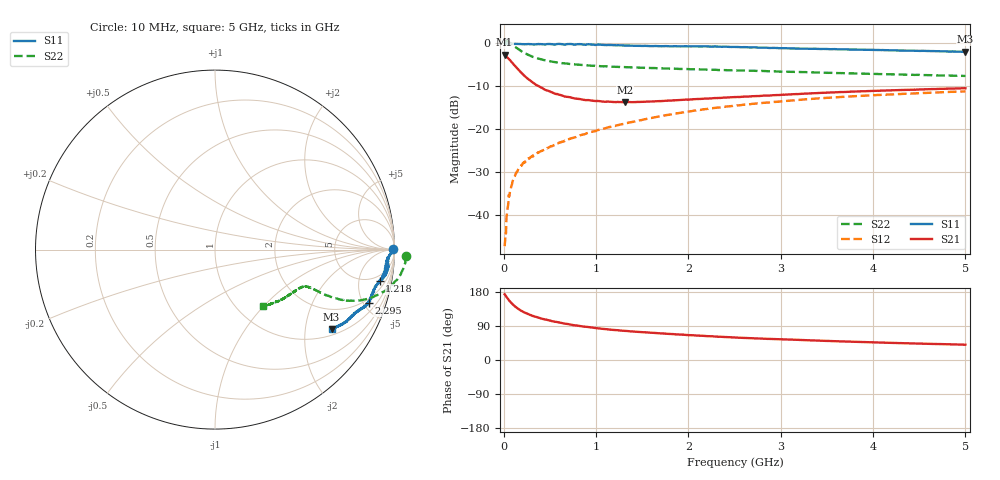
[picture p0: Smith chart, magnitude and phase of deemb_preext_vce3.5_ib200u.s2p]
! Forward-simulated: Re-embedded (raw/measured) — deemb_preext_vce3.5_ib200u.s2p
!  source_deembedded_file = deemb_preext_vce3.5_ib200u.s2p
!  Cpbe_fF = 22.0
!  Cpce_fF = 18.0
!  Cpbc_fF = 5.0
!  Lb_pH = 45.0
!  Lc_pH = 42.0
!  Le_pH = 6.0
!  Rpb_ohm = 0.0
!  Rpc_ohm = 0.0
!  Rpe_ohm = 0.0
# Hz S DB R 50
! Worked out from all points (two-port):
!   1001 points, 10 MHz to 5 GHz, reference 50 ohm
!   highest |S21| = -2.79 dB at 10 MHz (marker M1); lowest = -13.8 dB at 1.312 GHz (marker M2)
!   |S21| within 3 dB of the highest: start of sweep to 140.1 MHz
!   lowest |S11| = -2.1 dB at 5 GHz (marker M3), VSWR 8.34, Z = 59.9 - j139 ohm
!   |S11| at or under -10 dB: nowhere
!   |S22| runs from -7.7 to 0.5 dB; largest |S21 - S12| = 0.73
!   S11 on the Smith chart (normalised r, x): 10 MHz: open; 1.218 GHz: 3, -9; 2.295 GHz: 1.62, -5.42; 5 GHz: 1.20, -2.78
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1e7  -0.09 0.1  -2.79 173.4  -47.24 53.5  0.54 -1.8
2.497e7  -0.18 -0.6  -3.12 168.4  -44.31 63.2  0.50 -4.7
5.491e7  -0.17 -1.1  -3.75 158.6  -35.35 72.3  0.17 -10.0
7.986e7  -0.21 -1.5  -4.33 151.4  -33.56 65.2  -0.21 -13.6
1.1978e8  -0.27 -1.9  -5.34 142.1  -31.01 60.8  -0.88 -17.4
1.5471e8  -0.25 -2.2  -6.13 135.4  -29.52 57.3  -1.41 -19.5
1.8465e8  -0.28 -2.6  -6.79 130.7  -28.67 55.1  -1.86 -20.6
2.3455e8  -0.33 -2.8  -7.87 124.5  -27.49 54.1  -2.48 -21.7
2.9443e8  -0.32 -3.4  -8.90 118.4  -26.51 52.8  -3.08 -22.1
4.1918e8  -0.35 -4.7  -10.52 108.7  -25.03 52.8  -3.92 -22.2
5.9882e8  -0.27 -5.7  -12.04 99.2  -23.23 54.2  -4.62 -21.7
6.5371e8  -0.41 -6.7  -12.43 96.3  -22.89 54.0  -4.78 -21.8
7.086e8  -0.27 -6.5  -12.63 94.2  -22.34 54.8  -4.90 -21.7
8.4333e8  -0.35 -8.1  -13.15 89.0  -21.39 55.2  -5.16 -21.9
1.21758e9  -0.59 -10.7  -13.77 78.9  -19.23 55.7  -5.60 -23.5
1.31239e9  -0.64 -11.5  -13.80 76.9  -18.77 55.6  -5.65 -24.2
1.67666e9  -0.77 -14.0  -13.57 70.6  -17.15 54.8  -5.92 -26.5
2.29542e9  -0.85 -19.3  -12.83 61.8  -15.11 51.1  -6.29 -31.2
2.505e9  -0.95 -20.7  -12.61 59.2  -14.59 49.7  -6.40 -32.9
3.33833e9  -1.39 -25.3  -11.72 51.7  -13.01 45.0  -6.88 -39.3
4.17166e9  -1.75 -30.6  -11.07 45.4  -12.01 40.2  -7.30 -45.1
5e9  -2.09 -34.3  -10.57 40.5  -11.28 36.3  -7.70 -50.0
